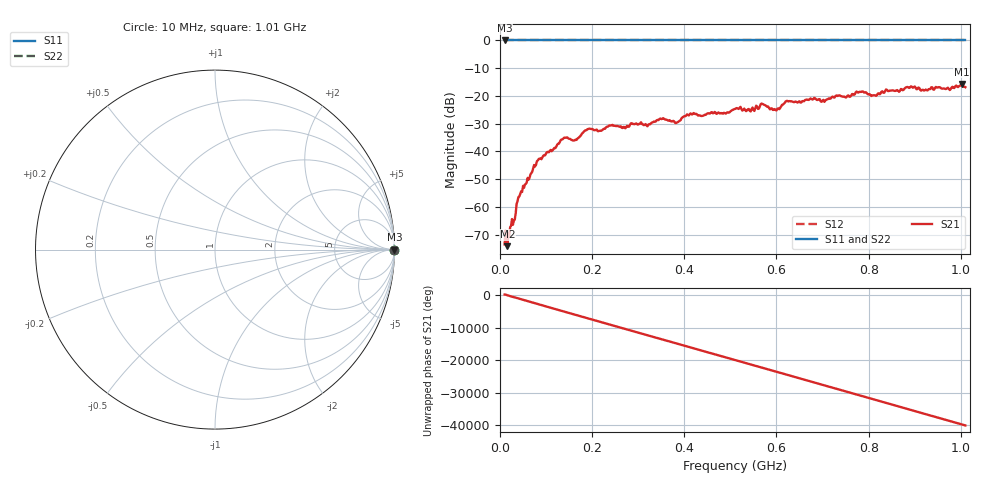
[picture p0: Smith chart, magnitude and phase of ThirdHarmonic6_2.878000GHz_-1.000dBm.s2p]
! 8/17/2025 7:53:17 AM
! C:\ANRITSUVNA\TEMP\TEMP.S2P
! CHANNEL.1
! TR.MEASUREMENT
! RAW.DATA
! RF.CORRECTION.OFF
! AVERAGING.OFF
! IF.BANDWIDTH: 5KHZ
! SWEEPTYPE:  FREQ.SWEEP(Linear)
! Reference Plane Port Info
! PORT:  PORT1  PORT2
! DISTANCE:  0  m  0  m
! TIME:  0  s  0  s
! PHASE.OFFSET:  0  deg.  0  deg.
! LOSS:  0  dB  0  dB
! REF.LOSS:  0  dB  0  dB
! REF.FREQ:  0  Hz  0  Hz
! Power Info
! POWER:  -20  dBm  -20  dBm
! EFF.POWER:  -20  dBm  -20  dBm
! SOURCE.ATTEN:  0  dB  0  dB
! TEST.ATTEN:  0  dB  0  dB
# GHZ S RI R 50.0
! FREQ.GHZ  S11RE  S11IM  S21RE  S21IM  S12RE  S12IM  S22RE  S22IM
!; PortSelection: Port_12
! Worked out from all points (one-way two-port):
!   501 points, 10 MHz to 1.01 GHz, reference 50 ohm
!   highest |S21| = -15.65 dB at 1.002 GHz (marker M1); lowest = -74.1 dB at 16 MHz (marker M2)
!   lowest |S11| = 0.0 dB at 10 MHz (marker M3)
!   |S11| at or under -10 dB: nowhere
!   |S22| runs from 0.0 to 0.0 dB; largest |S21 - S12| = 1.2
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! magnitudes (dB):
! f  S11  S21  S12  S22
! 10 MHz  0.0  -73.5  0.0  0.0
! 16 MHz  0.0  -74.1  0.0  0.0
! 32 MHz  0.0  -64.5  0.0  0.0
! 42 MHz  0.0  -56.2  0.0  0.0
! 84 MHz  0.0  -42.7  0.0  0.0
! 136 MHz  0.0  -35.6  0.0  0.0
! 162 MHz  0.0  -36.0  0.0  0.0
! 178 MHz  0.0  -33.5  0.0  0.0
! 194 MHz  0.0  -31.8  0.0  0.0
! 322 MHz  0.0  -30.3  0.0  0.0
! 344 MHz  0.0  -28.7  0.0  0.0
! 384 MHz  0.0  -29.6  0.0  0.0
! 410 MHz  0.0  -27.0  0.0  0.0
! 510 MHz  0.0  -24.7  0.0  0.0
! 548 MHz  0.0  -24.2  0.0  0.0
! 570 MHz  0.0  -22.9  0.0  0.0
! 596 MHz  0.0  -24.7  0.0  0.0
! 624 MHz  0.0  -21.8  0.0  0.0
! 678 MHz  0.0  -21.3  0.0  0.0
! 844 MHz  0.0  -18.2  0.0  0.0
! 1.002 GHz  0.0  -15.6  0.0  0.0
! 1.01 GHz  0.0  -16.9  0.0  0.0
